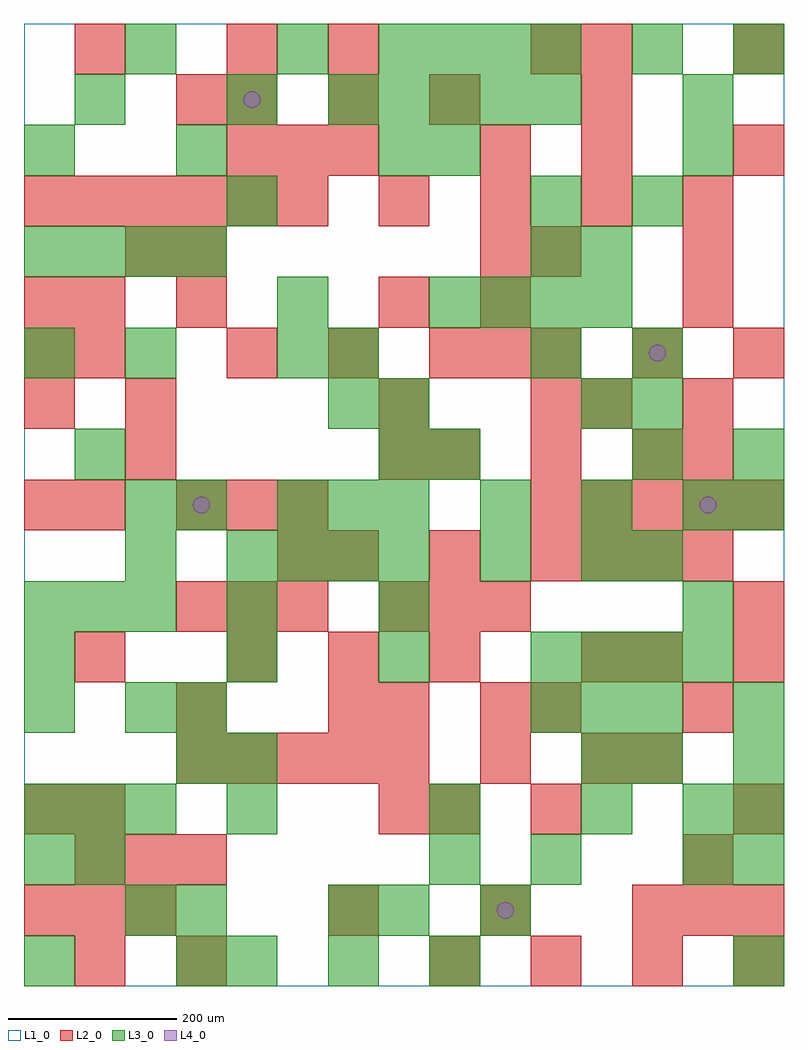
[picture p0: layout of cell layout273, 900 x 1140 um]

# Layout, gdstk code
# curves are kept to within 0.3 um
import gdstk
lib = gdstk.Library(unit=1e-6, precision=1e-09)
def R(c, l, rs):  # rectangles x0, y0, x1, y1
    for r in rs: c.add(gdstk.rectangle(r[:2], r[2:], *l))
def A(c, l, x, y, w, h, nx, ny, dx, dy):  # array of equal rectangles
    R(c, l, [(x+i*dx, y+j*dy, x+i*dx+w, y+j*dy+h) for i in range(nx) for j in range(ny)])
def P(c, l, *ps):  # polygons
    for p in ps: c.add(gdstk.Polygon(p, *l))
L1_0 = (1, 0)
L2_0 = (2, 0)
L3_0 = (3, 0)
L4_0 = (4, 0)

layout273 = lib.new_cell('layout273')
R(layout273, L1_0, [(0,0,900,1140)])
A(layout273, L2_0, 60, 0, 60, 60, 1, 5, 0, 180)
A(layout273, L2_0, 480, 0, 60, 60, 4, 1, 120, 0)
A(layout273, L2_0, 0, 60, 60, 60, 3, 1, 60, 0)
A(layout273, L2_0, 360, 60, 60, 60, 3, 1, 180, 0)
A(layout273, L2_0, 60, 120, 60, 60, 3, 1, 60, 0)
A(layout273, L2_0, 180, 240, 60, 60, 5, 1, 60, 0)
A(layout273, L2_0, 240, 360, 60, 60, 3, 2, 120, 360)
A(layout273, L2_0, 660, 360, 60, 60, 1, 3, 0, 300)
A(layout273, L2_0, 180, 420, 60, 60, 3, 2, 60, 120)
A(layout273, L2_0, 420, 420, 60, 60, 3, 1, 60, 0)
A(layout273, L2_0, 360, 480, 60, 60, 3, 1, 120, 0)
A(layout273, L2_0, 660, 480, 60, 60, 3, 1, 60, 0)
A(layout273, L2_0, 600, 540, 60, 60, 5, 1, 60, 0)
A(layout273, L2_0, 480, 600, 60, 60, 3, 1, 120, 0)
A(layout273, L2_0, 0, 660, 60, 60, 1, 3, 0, 60)
A(layout273, L2_0, 540, 720, 60, 60, 1, 3, 0, 60)
A(layout273, L2_0, 600, 720, 60, 60, 3, 1, 120, 0)
A(layout273, L2_0, 0, 900, 60, 60, 6, 1, 60, 0)
A(layout273, L2_0, 420, 900, 60, 60, 4, 1, 120, 0)
A(layout273, L2_0, 240, 960, 60, 60, 3, 1, 60, 0)
A(layout273, L2_0, 240, 1020, 60, 60, 3, 1, 120, 0)
R(layout273, L2_0, [(180,0,240,60), (780,60,840,120), (840,60,900,120), (780,120,840,180), (0,180,60,240), (420,180,480,240), (480,180,540,240), (600,180,660,240), (840,180,900,240), (540,240,600,300), (660,240,720,300), (720,240,780,300), (180,300,240,360), (360,300,420,360), (420,300,480,360), (540,300,600,360), (600,300,660,360), (780,300,840,360), (720,360,780,420), (840,360,900,420), (840,420,900,480), (300,480,360,540), (0,540,60,600), (120,600,180,660), (420,600,480,660), (780,600,840,660), (120,660,180,720), (420,660,480,720), (600,660,660,720), (780,660,840,720), (60,780,120,840), (180,780,240,840), (420,780,480,840), (780,780,840,840), (120,840,180,900), (180,840,240,900), (600,840,660,900), (780,840,840,900), (540,960,600,1020), (840,960,900,1020), (180,1020,240,1080), (660,1020,720,1080), (60,1080,120,1140), (240,1080,300,1140), (360,1080,420,1140), (600,1080,660,1140), (660,1080,720,1140), (840,1080,900,1140)])
A(layout273, L3_0, 240, 0, 60, 60, 3, 1, 120, 0)
A(layout273, L3_0, 840, 120, 60, 60, 1, 4, 0, 60)
A(layout273, L3_0, 0, 180, 60, 60, 3, 2, 60, 240)
A(layout273, L3_0, 600, 300, 60, 60, 3, 1, 60, 0)
A(layout273, L3_0, 240, 360, 60, 60, 3, 1, 180, 0)
A(layout273, L3_0, 660, 360, 60, 60, 3, 1, 60, 0)
A(layout273, L3_0, 240, 480, 60, 60, 4, 1, 60, 0)
A(layout273, L3_0, 660, 480, 60, 60, 1, 3, 0, 180)
A(layout273, L3_0, 300, 540, 60, 60, 3, 1, 60, 0)
A(layout273, L3_0, 540, 540, 60, 60, 3, 1, 120, 0)
A(layout273, L3_0, 720, 600, 60, 60, 1, 3, 0, 60)
A(layout273, L3_0, 480, 780, 60, 60, 4, 1, 60, 0)
A(layout273, L3_0, 0, 840, 60, 60, 4, 1, 60, 0)
A(layout273, L3_0, 360, 1020, 60, 60, 5, 1, 60, 0)
A(layout273, L3_0, 420, 1080, 60, 60, 4, 1, 60, 0)
R(layout273, L3_0, [(0,0,60,60), (180,0,240,60), (840,0,900,60), (120,60,180,120), (180,60,240,120), (360,60,420,120), (420,60,480,120), (540,60,600,120), (0,120,60,180), (60,120,120,180), (480,120,540,180), (600,120,660,180), (780,120,840,180), (240,180,300,240), (480,180,540,240), (660,180,720,240), (780,180,840,240), (180,240,240,300), (240,240,300,300), (660,240,720,300), (720,240,780,300), (0,300,60,360), (120,300,180,360), (180,300,240,360), (0,360,60,420), (240,420,300,480), (420,420,480,480), (780,420,840,480), (120,480,180,540), (540,480,600,540), (720,480,780,540), (120,540,180,600), (180,540,240,600), (840,540,900,600), (60,600,120,660), (420,600,480,660), (480,600,540,660), (840,600,900,660), (360,660,420,720), (420,660,480,720), (0,720,60,780), (120,720,180,780), (300,720,360,780), (360,720,420,780), (600,720,660,780), (300,780,360,840), (600,840,660,900), (240,900,300,960), (600,900,660,960), (720,900,780,960), (0,960,60,1020), (180,960,240,1020), (420,960,480,1020), (480,960,540,1020), (780,960,840,1020), (60,1020,120,1080), (240,1020,300,1080), (780,1020,840,1080), (120,1080,180,1140), (300,1080,360,1140), (720,1080,780,1140), (840,1080,900,1140)])
P(layout273, L4_0, [(220,570),(219.239,573.827),(217.071,577.071),(213.827,579.239),(210,580),(206.173,579.239),(202.929,577.071),(200.761,573.827),(200,570),(200.761,566.173),(202.929,562.929),(206.173,560.761),(210,560),(213.827,560.761),(217.071,562.929),(219.239,566.173)],
  [(280,1050),(279.239,1053.827),(277.071,1057.071),(273.827,1059.239),(270,1060),(266.173,1059.239),(262.929,1057.071),(260.761,1053.827),(260,1050),(260.761,1046.173),(262.929,1042.929),(266.173,1040.761),(270,1040),(273.827,1040.761),(277.071,1042.929),(279.239,1046.173)],
  [(580,90),(579.239,93.827),(577.071,97.071),(573.827,99.239),(570,100),(566.173,99.239),(562.929,97.071),(560.761,93.827),(560,90),(560.761,86.173),(562.929,82.929),(566.173,80.761),(570,80),(573.827,80.761),(577.071,82.929),(579.239,86.173)],
  [(760,750),(759.239,753.827),(757.071,757.071),(753.827,759.239),(750,760),(746.173,759.239),(742.929,757.071),(740.761,753.827),(740,750),(740.761,746.173),(742.929,742.929),(746.173,740.761),(750,740),(753.827,740.761),(757.071,742.929),(759.239,746.173)],
  [(820,570),(819.239,573.827),(817.071,577.071),(813.827,579.239),(810,580),(806.173,579.239),(802.929,577.071),(800.761,573.827),(800,570),(800.761,566.173),(802.929,562.929),(806.173,560.761),(810,560),(813.827,560.761),(817.071,562.929),(819.239,566.173)])

lib.write_gds('layout273.gds')
